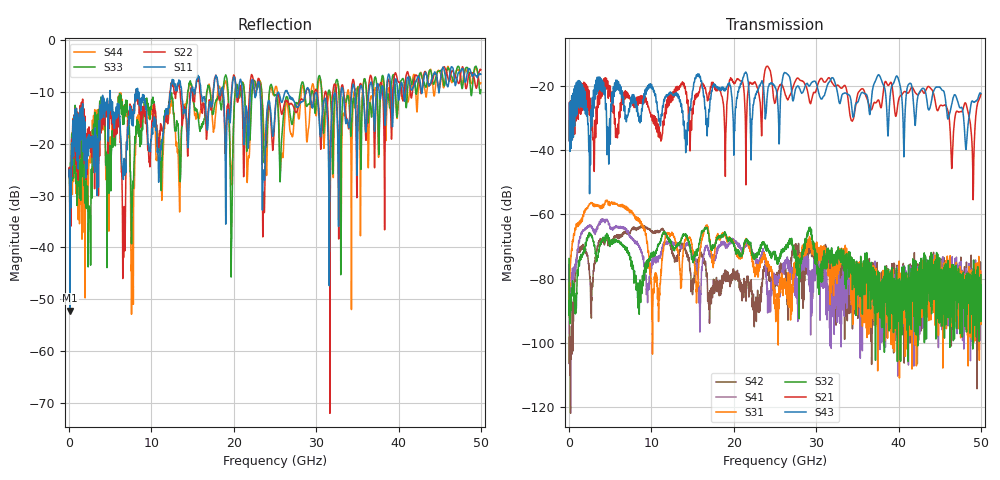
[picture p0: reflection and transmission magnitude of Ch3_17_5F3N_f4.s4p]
!Agilent Technologies,N5247A,US51170199,A.09.90.13
!Agilent N5247A: A.09.90.13
!Date: Wednesday, December 09, 2015 09:51:05
!Correction: S11(Full 4 Port(1,2,3,4))
!S12(Full 4 Port(1,2,3,4))
!S13(Full 4 Port(1,2,3,4))
!S14(Full 4 Port(1,2,3,4))
!S21(Full 4 Port(1,2,3,4))
!S22(Full 4 Port(1,2,3,4))
!S23(Full 4 Port(1,2,3,4))
!S24(Full 4 Port(1,2,3,4))
!S31(Full 4 Port(1,2,3,4))
!S32(Full 4 Port(1,2,3,4))
!S33(Full 4 Port(1,2,3,4))
!S34(Full 4 Port(1,2,3,4))
!S41(Full 4 Port(1,2,3,4))
!S42(Full 4 Port(1,2,3,4))
!S43(Full 4 Port(1,2,3,4))
!S44(Full 4 Port(1,2,3,4))
!S4P File: Measurements: <S11,S12,S13,S14>,
!<S21,S22,S23,S24>,
!<S31,S32,S33,S34>,
!<S41,S42,S43,S44>:
# Hz S  dB  R 50
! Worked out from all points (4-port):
!   3201 points, 10 MHz to 50 GHz, reference 50 ohm
!   strongest paths, dB at 10 MHz, 12.51 GHz, 25 GHz, 37.5 GHz, 50 GHz:
!     S43: -37.0, -22.7, -20.5, -16.7, -22.4
!     S21: -37.1, -22.5, -25.3, -24.5, -22.7
!     S32: -73.7, -70.1, -72.8, -84.5, -78.8
!     S31: -91.3, -65.7, -89.3, -81.2, -86.1
!     S41: -73.9, -68.7, -80.5, -81.3, -78.9
!     S42: -75.7, -71.2, -81.3, -80.1, -82.8
!   lowest |S11| = -52.1 dB at 119.4 MHz (marker M1), VSWR 1.00, Z = 50.1 + j0.241 ohm
!   |S11| at or under -10 dB: start of sweep to 4.96 GHz; 8.348 GHz to 12.32 GHz (3.973 GHz wide, 38.4 % of centre); 29.18 GHz to 33.03 GHz (3.849 GHz wide, 12.4 % of centre)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
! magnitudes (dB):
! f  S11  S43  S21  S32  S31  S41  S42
! 10 MHz  -26.4  -37.0  -37.1  -73.7  -91.3  -73.9  -75.7
! 119.4 MHz  -52.1  -40.4  -36.2  -89.8  -77.8  -88.8  -104.6
! 4.634 GHz  -11.5  -36.5  -20.2  -67.1  -55.7  -61.8  -67.4
! 6.649 GHz  -24.4  -25.6  -23.2  -70.0  -57.2  -64.1  -66.1
! 7.696 GHz  -13.9  -22.8  -24.4  -77.0  -59.8  -67.8  -64.5
! 10.16 GHz  -17.8  -20.5  -29.4  -72.5  -89.1  -75.7  -65.5
! 50 GHz  -6.6  -22.4  -22.7  -78.8  -86.1  -78.9  -82.8
